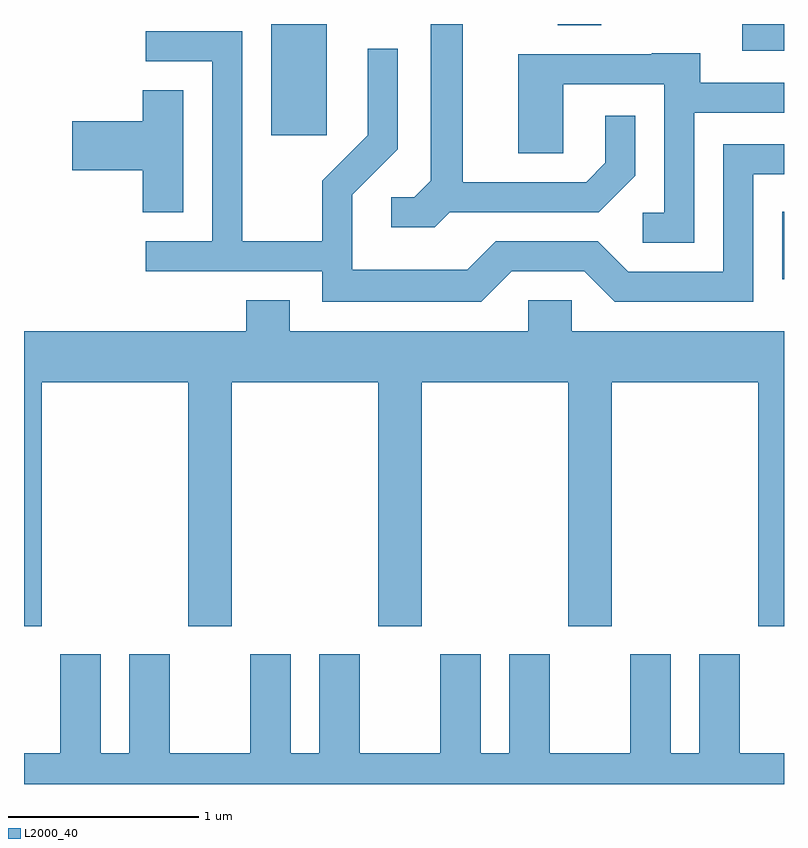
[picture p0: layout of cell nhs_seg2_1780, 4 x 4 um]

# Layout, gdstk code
import gdstk
lib = gdstk.Library(unit=1e-6, precision=1e-09)
def R(c, l, rs):  # rectangles x0, y0, x1, y1
    for r in rs: c.add(gdstk.rectangle(r[:2], r[2:], *l))
def P(c, l, *ps):  # polygons
    for p in ps: c.add(gdstk.Polygon(p, *l))
L2000_40 = (2000, 40)

nhs_seg2_1780 = lib.new_cell('nhs_seg2_1780')
R(nhs_seg2_1780, L2000_40, [(241.601,1004.458,241.611,1004.814), (238.911,1005.216,239.204,1005.802), (241.391,1005.661,241.611,1005.802), (240.421,1005.796,240.649,1005.802)])
P(nhs_seg2_1780, L2000_40, [(239.852,1004.811),(240.637,1004.811),(240.829,1005.004),(240.829,1005.318),(240.671,1005.318),(240.671,1005.072),(240.569,1004.969),(239.919,1004.969),(239.919,1005.802),(239.751,1005.802),(239.751,1004.977),(239.664,1004.889),(239.543,1004.889),(239.543,1004.731),(239.772,1004.731)],
  [(240.177,1004.501),(240.559,1004.501),(240.719,1004.341),(241.449,1004.341),(241.449,1005.011),(241.611,1005.011),(241.611,1005.169),(241.291,1005.169),(241.291,1004.499),(240.792,1004.499),(240.632,1004.659),(240.094,1004.659),(239.944,1004.509),(239.339,1004.509),(239.339,1004.904),(239.579,1005.144),(239.579,1005.673),(239.421,1005.673),(239.421,1005.217),(239.181,1004.977),(239.181,1004.659),(238.759,1004.659),(238.759,1005.764),(238.253,1005.764),(238.253,1005.606),(238.601,1005.606),(238.601,1004.659),(238.253,1004.659),(238.253,1004.501),(239.181,1004.501),(239.181,1004.341),(240.017,1004.341)],
  [(241.139,1005.336),(241.611,1005.336),(241.611,1005.494),(241.169,1005.494),(241.169,1005.649),(240.915,1005.649),(240.915,1005.644),(240.211,1005.644),(240.211,1005.121),(240.449,1005.121),(240.449,1005.486),(240.981,1005.486),(240.981,1004.809),(240.868,1004.809),(240.868,1004.651),(241.139,1004.651)],
  [(238.449,1005.454),(238.236,1005.454),(238.236,1005.289),(237.866,1005.289),(237.866,1005.031),(238.236,1005.031),(238.236,1004.811),(238.449,1004.811)],
  [(237.704,1003.916),(238.476,1003.916),(238.476,1002.631),(238.704,1002.631),(238.704,1003.916),(239.476,1003.916),(239.476,1002.631),(239.704,1002.631),(239.704,1003.916),(240.476,1003.916),(240.476,1002.631),(240.704,1002.631),(240.704,1003.916),(241.476,1003.916),(241.476,1002.631),(241.611,1002.631),(241.611,1004.184),(240.494,1004.184),(240.494,1004.349),(240.266,1004.349),(240.266,1004.184),(239.009,1004.184),(239.009,1004.349),(238.781,1004.349),(238.781,1004.184),(237.611,1004.184),(237.611,1002.631),(237.704,1002.631)],
  [(238.166,1002.484),(238.166,1001.964),(238.014,1001.964),(238.014,1002.484),(237.801,1002.484),(237.801,1001.964),(237.611,1001.964),(237.611,1001.802),(241.611,1001.802),(241.611,1001.964),(241.379,1001.964),(241.379,1002.484),(241.166,1002.484),(241.166,1001.964),(241.014,1001.964),(241.014,1002.484),(240.801,1002.484),(240.801,1001.964),(240.379,1001.964),(240.379,1002.484),(240.166,1002.484),(240.166,1001.964),(240.014,1001.964),(240.014,1002.484),(239.801,1002.484),(239.801,1001.964),(239.379,1001.964),(239.379,1002.484),(239.166,1002.484),(239.166,1001.964),(239.014,1001.964),(239.014,1002.484),(238.801,1002.484),(238.801,1001.964),(238.379,1001.964),(238.379,1002.484)])

lib.write_gds('nhs_seg2_1780.gds')
